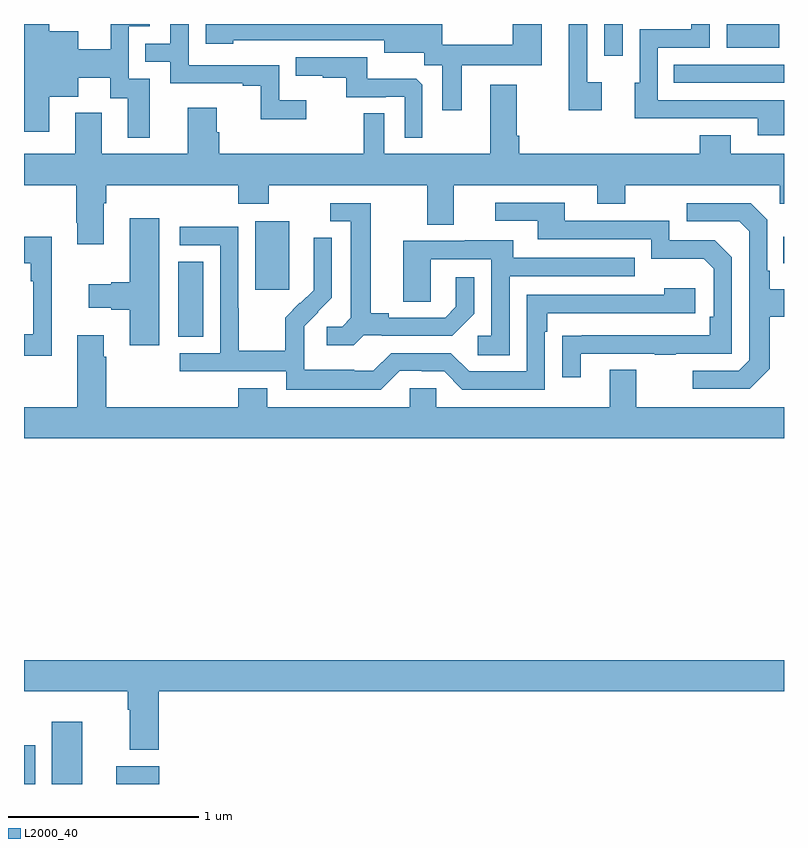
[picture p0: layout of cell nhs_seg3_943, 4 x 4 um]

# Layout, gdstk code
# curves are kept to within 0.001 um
import gdstk
lib = gdstk.Library(unit=1e-6, precision=1e-09)
def R(c, l, rs):  # rectangles x0, y0, x1, y1
    for r in rs: c.add(gdstk.rectangle(r[:2], r[2:], *l))
def P(c, l, *ps):  # polygons
    for p in ps: c.add(gdstk.Polygon(p, *l))
L2000_40 = (2000, 40)

nhs_seg3_943 = lib.new_cell('nhs_seg3_943')
R(nhs_seg3_943, L2000_40, [(159,728.4,159.058,728.605), (159.146,728.4,159.307,728.728), (159.485,728.4,159.712,728.494), (159.812,730.753,159.943,731.15), (160.217,731.001,160.396,731.362), (162.997,731.141,163,731.281), (162.421,732.09,163,732.186), (162.054,732.234,162.15,732.4), (162.698,732.275,162.976,732.4)])
P(nhs_seg3_943, L2000_40, [(159.661,732.111),(159.552,732.111),(159.552,732.387),(159.661,732.387),(159.661,732.4),(159.456,732.4),(159.456,732.268),(159.286,732.268),(159.286,732.361),(159.133,732.361),(159.133,732.4),(159,732.4),(159,731.832),(159.133,731.832),(159.133,732.017),(159.286,732.017),(159.286,732.116),(159.455,732.116),(159.455,732.01),(159.545,732.01),(159.545,731.802),(159.661,731.802)],
  [(161.305,732.182),(161.725,732.182),(161.725,732.4),(161.573,732.4),(161.573,732.292),(161.202,732.292),(161.202,732.4),(159.957,732.4),(159.957,732.296),(160.101,732.296),(160.101,732.314),(160.337,732.314),(160.337,732.315),(160.895,732.315),(160.895,732.248),(161.106,732.248),(161.106,732.184),(161.201,732.184),(161.201,731.946),(161.305,731.946)],
  [(163,732),(162.336,732),(162.336,732.276),(162.609,732.276),(162.609,732.4),(162.513,732.4),(162.513,732.372),(162.24,732.372),(162.24,732.09),(162.215,732.09),(162.215,731.903),(162.433,731.903),(162.433,731.904),(162.863,731.904),(162.863,731.814),(163,731.814)],
  [(162.04,732.094),(161.964,732.094),(161.964,732.4),(161.867,732.4),(161.867,731.946),(162.04,731.946)],
  [(160.486,731.998),(160.344,731.998),(160.344,732.183),(159.867,732.183),(159.867,732.4),(159.771,732.4),(159.771,732.297),(159.637,732.297),(159.637,732.201),(159.771,732.201),(159.771,732.087),(160.151,732.087),(160.151,732.075),(160.246,732.075),(160.246,731.9),(160.486,731.9)],
  [(161.097,732.081),(161.065,732.113),(160.807,732.113),(160.807,732.225),(160.429,732.225),(160.429,732.128),(160.573,732.128),(160.573,732.117),(160.697,732.117),(160.697,732.015),(160.904,732.015),(160.904,732.018),(161.004,732.018),(161.004,731.801),(161.097,731.801)],
  [(159.421,731.456),(159.434,731.456),(159.434,731.552),(160.127,731.552),(160.127,731.453),(160.287,731.453),(160.287,731.552),(161.123,731.552),(161.123,731.344),(161.263,731.344),(161.263,731.552),(162.017,731.552),(162.017,731.453),(162.165,731.453),(162.165,731.552),(162.978,731.552),(162.978,731.453),(163,731.453),(163,731.716),(162.721,731.716),(162.721,731.815),(162.557,731.815),(162.557,731.716),(161.606,731.716),(161.606,731.812),(161.593,731.812),(161.593,732.079),(161.453,732.079),(161.453,731.716),(160.896,731.716),(160.896,731.93),(160.788,731.93),(160.788,731.716),(160.028,731.716),(160.028,731.829),(160.015,731.829),(160.015,731.959),(159.863,731.959),(159.863,731.716),(159.409,731.716),(159.409,731.932),(159.269,731.932),(159.269,731.716),(159,731.716),(159,731.552),(159.274,731.552),(159.274,731.353),(159.281,731.353),(159.281,731.241),(159.421,731.241)],
  [(161.929,730.665),(162.319,730.665),(162.319,730.66),(162.431,730.66),(162.431,730.665),(162.726,730.665),(162.726,731.172),(162.636,731.262),(162.396,731.262),(162.396,731.364),(161.845,731.364),(161.845,731.46),(161.481,731.46),(161.481,731.364),(161.705,731.364),(161.705,731.268),(162.3,731.268),(162.3,731.165),(162.577,731.165),(162.63,731.112),(162.63,730.858),(162.61,730.858),(162.61,730.761),(161.833,730.76),(161.833,730.542),(161.929,730.542)],
  [(160.788,730.761),(160.882,730.761),(160.882,730.758),(161.254,730.758),(161.37,730.874),(161.37,731.068),(161.273,731.068),(161.273,730.911),(161.216,730.854),(160.921,730.854),(160.921,730.877),(160.825,730.877),(160.825,731.457),(160.611,731.457),(160.611,731.361),(160.721,731.361),(160.721,730.853),(160.674,730.806),(160.593,730.806),(160.593,730.709),(160.736,730.709)],
  [(162.925,730.585),(162.925,730.858),(163,730.858),(163,731.005),(162.925,731.005),(162.925,731.101),(162.912,731.101),(162.912,731.37),(162.825,731.457),(162.489,731.457),(162.489,731.361),(162.765,731.361),(162.816,731.31),(162.816,730.629),(162.762,730.575),(162.519,730.575),(162.519,730.479),(162.819,730.479)],
  [(159.712,731.377),(159.557,731.377),(159.557,731.042),(159.458,731.042),(159.458,731.029),(159.342,731.029),(159.342,730.907),(159.458,730.907),(159.458,730.895),(159.557,730.895),(159.557,730.71),(159.712,730.71)],
  [(160.977,730.575),(161.093,730.575),(161.093,730.572),(161.211,730.572),(161.307,730.476),(161.742,730.476),(161.742,730.781),(161.755,730.781),(161.755,730.878),(162.532,730.878),(162.532,731.008),(162.371,731.008),(162.371,730.974),(161.646,730.974),(161.646,730.572),(161.343,730.572),(161.247,730.668),(160.932,730.668),(160.839,730.575),(160.739,730.575),(160.739,730.579),(160.476,730.579),(160.476,730.713),(160.474,730.713),(160.474,730.81),(160.62,730.958),(160.62,731.276),(160.524,731.276),(160.524,731.122),(160.526,731.122),(160.526,731),(160.455,730.929),(160.452,730.932),(160.375,730.855),(160.375,730.681),(160.131,730.681),(160.131,730.904),(160.128,730.904),(160.128,731.334),(159.819,731.334),(159.819,731.235),(160.032,731.235),(160.032,730.668),(159.819,730.668),(159.819,730.572),(160.38,730.572),(160.38,730.475),(160.877,730.475)],
  [(159.146,731.281),(159,731.281),(159,731.141),(159.036,731.141),(159.036,731.045),(159.048,731.045),(159.048,730.766),(159,730.766),(159,730.653),(159.146,730.653)],
  [(161.556,731.073),(162.215,731.073),(162.215,731.169),(161.575,731.169),(161.575,731.263),(161.321,731.263),(161.321,731.259),(160.997,731.259),(160.997,730.939),(161.142,730.939),(161.142,731.163),(161.46,731.163),(161.46,730.758),(161.388,730.758),(161.388,730.657),(161.556,730.657)],
  [(163,730.384),(162.223,730.384),(162.223,730.579),(162.083,730.579),(162.083,730.384),(161.169,730.384),(161.169,730.482),(161.031,730.482),(161.031,730.384),(160.279,730.384),(160.279,730.483),(160.127,730.483),(160.127,730.384),(159.434,730.384),(159.434,730.649),(159.421,730.649),(159.421,730.762),(159.281,730.762),(159.281,730.384),(159,730.384),(159,730.22),(163,730.22)],
  [(159.71,728.888),(163,728.888),(163,729.052),(159,729.052),(159,728.888),(159.545,728.888),(159.545,728.792),(159.557,728.792),(159.557,728.579),(159.71,728.579)])

lib.write_gds('nhs_seg3_943.gds')
